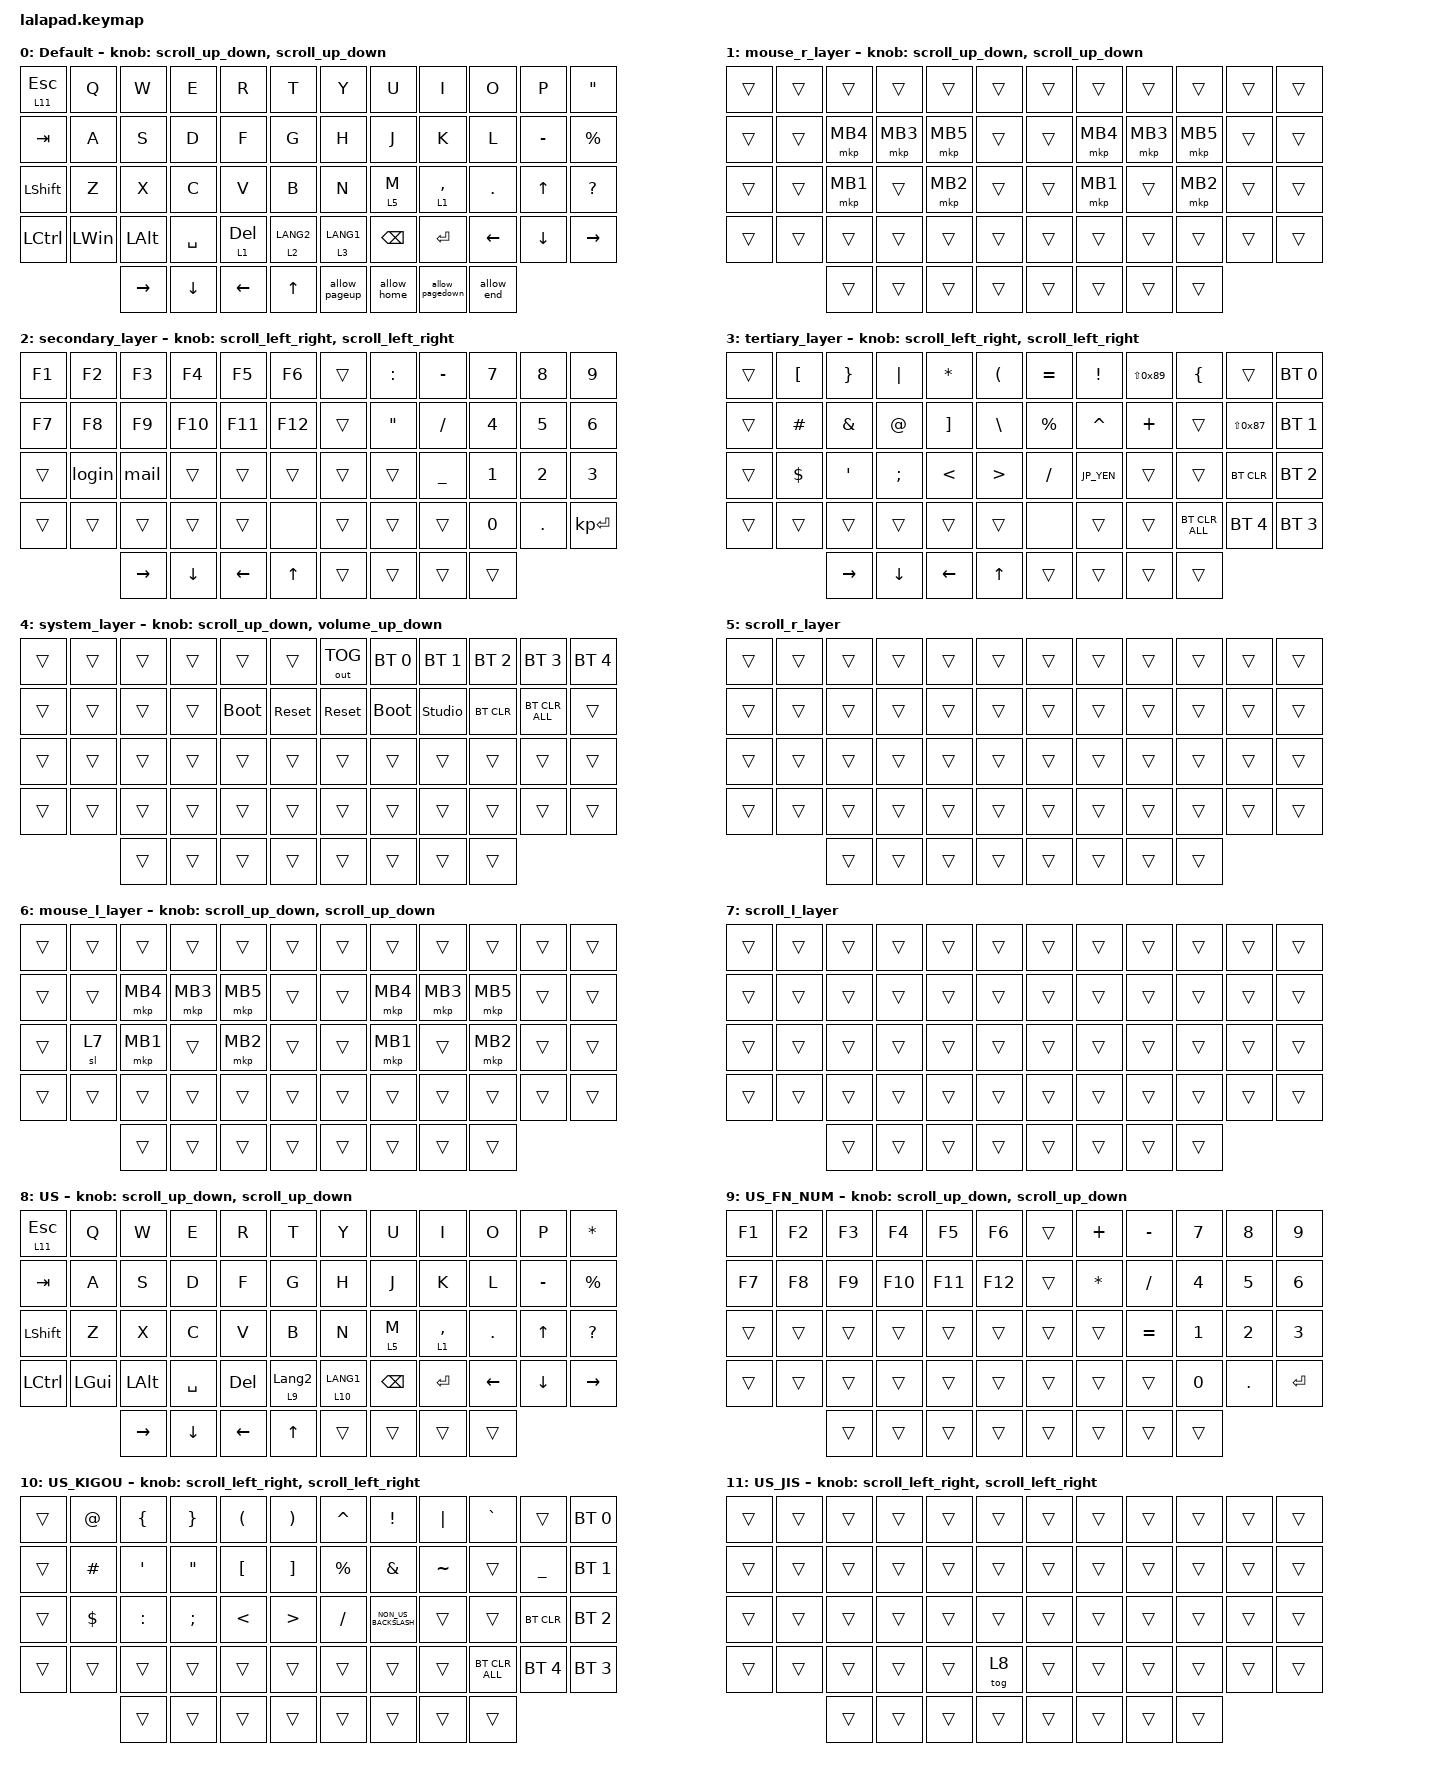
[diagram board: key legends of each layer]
#include <input/processors.dtsi>
#include <behaviors.dtsi>
#include <dt-bindings/zmk/bt.h>
#include <dt-bindings/zmk/keys.h>
#include <dt-bindings/zmk/outputs.h>
#include <dt-bindings/zmk/pointing.h>

#define DEFAULT_LAYER   0
#define SECONDARY_LAYER 2
#define TERTIARY_LAYER  3
#define SYSTEM_LAYER    4
#define MOUSE_R_LAYER   1
#define SCROLL_R_LAYER  5
#define MOUSE_L_LAYER   6
#define SCROLL_L_LAYER  7

// OS設定を日本語キーボードのまま使用するための変換定義

#define JP_DQUOTE       AT                // "
#define JP_AMPERSAND    CARET             // &
#define JP_QUOTE        AMPERSAND         // '
#define JP_EQUAL        UNDER             // =
#define JP_CARET        EQUAL             // ^
#define JP_YEN          0x89              // ¥
#define JP_PLUS         COLON             // +
#define JP_TILDE        PLUS              // ~
#define JP_PIPE         LS(0x89)          // |
#define JP_AT           LEFT_BRACKET      // @
#define JP_COLON        SINGLE_QUOTE      // :
#define JP_ASTERISK     DOUBLE_QUOTES     // *
#define JP_BACKQUOTE    LEFT_BRACE        // `
#define JP_UNDERSCORE   LS(0x87)          // _
#define JP_LBRACKET     RIGHT_BRACKET     // [
#define JP_RBRACKET     BACKSLASH         // ]
#define JP_LPAREN       ASTERISK          // (
#define JP_RPAREN       LEFT_PARENTHESIS  // )
#define JP_LBRACE       RIGHT_BRACE       // {
#define JP_RBRACE       PIPE              // }
#define JP_KANA         LANGUAGE_1        // かな
#define JP_EISU         LANGUAGE_2        // 英数
#define JP_HANZEN       GRAVE             // 半角/全角

// Mouse Scroll Value

#define ZMK_POINTING_DEFAULT_SCRL_VAL 100

// cirque trackpad input&layer control

&glidepoint_listener_R {
    input-processors =
        <&zip_xy_transform (INPUT_TRANSFORM_XY_SWAP | INPUT_TRANSFORM_X_INVERT | INPUT_TRANSFORM_Y_INVERT)>,
        <&zip_xy_scaler 3 2>,
        <&zip_temp_layer MOUSE_R_LAYER 500>;

    lowspeedmode {
        layers = <SECONDARY_LAYER>;
        input-processors =
            <&zip_xy_transform (INPUT_TRANSFORM_XY_SWAP | INPUT_TRANSFORM_X_INVERT | INPUT_TRANSFORM_Y_INVERT)>,
            <&zip_xy_scaler 3 5>,
            <&zip_temp_layer MOUSE_R_LAYER 500>;
    };

    scroller {
        layers = <SCROLL_R_LAYER>;
        input-processors =
            <&zip_xy_to_scroll_mapper>,
            <&zip_scroll_transform (INPUT_TRANSFORM_XY_SWAP | INPUT_TRANSFORM_Y_INVERT)>,
            <&zip_scroll_scaler 1 8>;
    };
};

&glidepoint_listener_L {
    input-processors =
        <&zip_xy_transform (INPUT_TRANSFORM_XY_SWAP | INPUT_TRANSFORM_X_INVERT | INPUT_TRANSFORM_Y_INVERT)>,
        <&zip_xy_scaler 3 2>,
        //<&zip_temp_layer MOUSE_L_LAYER 500>;
        <&zip_temp_layer SCROLL_L_LAYER 300>;

    lowspeedmode {
        layers = <SECONDARY_LAYER>;
        input-processors =
            <&zip_xy_transform (INPUT_TRANSFORM_XY_SWAP | INPUT_TRANSFORM_X_INVERT | INPUT_TRANSFORM_Y_INVERT)>,
            <&zip_xy_scaler 3 4>,
            <&zip_temp_layer MOUSE_L_LAYER 500>;
    };

    scroller {
        layers = <SCROLL_L_LAYER>;
        input-processors =
            <&zip_xy_to_scroll_mapper>,
            <&zip_scroll_transform (INPUT_TRANSFORM_XY_SWAP | INPUT_TRANSFORM_Y_INVERT)>,
            <&zip_scroll_scaler 1 6>;
    };
};

/ {
    behaviors {
        // Encoder to Mouse Scroll

        scroll_up_down: behavior_sensor_rotate_mouse_wheel_up_down {
            compatible = "zmk,behavior-sensor-rotate";
            #sensor-binding-cells = <0>;
            bindings = <&msc SCRL_UP>, <&msc SCRL_DOWN>;

            tap-ms = <20>;
        };

        scroll_down_up: behavior_sensor_rotate_mouse_wheel_down_up {
            compatible = "zmk,behavior-sensor-rotate";
            #sensor-binding-cells = <0>;
            bindings = <&msc SCRL_DOWN>, <&msc SCRL_UP>;

            tap-ms = <20>;
        };

        scroll_left_right: behavior_sensor_rotate_mouse_wheel_left_right {
            compatible = "zmk,behavior-sensor-rotate";
            #sensor-binding-cells = <0>;
            bindings = <&msc SCRL_LEFT>, <&msc SCRL_RIGHT>;

            tap-ms = <20>;
        };

        scroll_right_left: behavior_sensor_rotate_mouse_wheel_right_left {
            compatible = "zmk,behavior-sensor-rotate";
            #sensor-binding-cells = <0>;
            bindings = <&msc SCRL_RIGHT>, <&msc SCRL_LEFT>;

            tap-ms = <20>;
        };

        volume_up_down: behavior_sensor_rotate_volume_up_down {
            compatible = "zmk,behavior-sensor-rotate";
            #sensor-binding-cells = <0>;
            bindings = <&kp C_VOLUME_UP>, <&kp C_VOLUME_DOWN>;

            tap-ms = <20>;
        };

        dot_comma: dot_comma {
            compatible = "zmk,behavior-mod-morph";
            #binding-cells = <0>;
            bindings = <&kp KP_DOT>, <&kp COMMA>;

            mods = <(MOD_LSFT|MOD_RSFT)>;
            label = "DOT_COMMA";
        };

        pls_minus: pls_minus {
            compatible = "zmk,behavior-mod-morph";
            #binding-cells = <0>;
            bindings = <&kp PLUS>, <&kp MINUS>;

            mods = <(MOD_LSFT|MOD_RSFT)>;
            label = "PLS_MINUS";
        };

        allow_pageup: allow_pageup {
            compatible = "zmk,behavior-mod-morph";
            #binding-cells = <0>;
            bindings = <&kp UP>, <&kp PAGE_UP>;

            mods = <(MOD_LCTL|MOD_RCTL)>;
            label = "ALLOW_PAGEUP";
        };

        allow_pagedown: allow_pagedown {
            compatible = "zmk,behavior-mod-morph";
            #binding-cells = <0>;
            bindings = <&kp DOWN>, <&kp PAGE_DOWN>;

            mods = <(MOD_LCTL|MOD_RCTL)>;
            label = "ALLOW_PAGEDOWN";
        };

        allow_home: allow_home {
            compatible = "zmk,behavior-mod-morph";
            #binding-cells = <0>;
            bindings = <&kp LEFT>, <&kp HOME>;

            mods = <(MOD_LCTL|MOD_RCTL)>;
            label = "ALLOW_HOME";
        };

        allow_end: allow_end {
            compatible = "zmk,behavior-mod-morph";
            #binding-cells = <0>;
            bindings = <&kp RIGHT>, <&kp END>;

            mods = <(MOD_LCTL|MOD_RCTL)>;
            label = "ALLOW_END";
        };

        mt2: mod_tap2 {
            compatible = "zmk,behavior-hold-tap";
            #binding-cells = <2>;
            flavor = "tap-preferred";
            tapping-term-ms = <200>;
            quick-tap-ms = <200>;
            require-prior-idle-ms = <125>;
            bindings = <&kp>, <&kp>;
        };

        //        behavior_right_click: behavior_right_click {
        //            compatible = "zmk,behavior-sensor-trigger";
        //            label = "RIGHT_CLICK";
        //            bindings = <&kp BTN_RIGHT>;
        //        };
    };

    //    sensors {
    //        glidepoint: glidepoint@1 {
    //            compatible = "cirque,pinnacle";
    //            status = "okay";
    //            reg = <1>;
    //            spi-max-frequency = <1000000>;
    //            dr-gpios = <&xiao_d 7 (GPIO_ACTIVE_HIGH)>;
    //            trigger-behavior = <&behavior_right_click>;
    //        };
    //    };

    macros {
        login: login {
            compatible = "zmk,behavior-macro";
            #binding-cells = <0>;
            bindings = <&kp LS(I) &kp N &kp T &kp E &kp L &kp JP_AT &kp ENTER>;
            label = "LOGIN";
        };

        mail: mail {
            compatible = "zmk,behavior-macro";
            #binding-cells = <0>;
            bindings = <&kp T &kp S &kp U &kp T &kp O &kp M &kp U &kp LS(0x87) &kp O &kp O &kp T &kp A &kp W &kp A &kp JP_AT &kp T &kp O &kp M &kp O &kp E &kp G &kp A &kp W &kp A &kp DOT &kp C &kp O &kp DOT &kp J &kp P>;
            label = "MAIL";
        };
    };

    keymap {
        compatible = "zmk,keymap";

        DEFAULT_LAYER {
            display-name = "Default";
            sensor-bindings = <&scroll_up_down>, <&scroll_up_down>;

            bindings = <
&lt 11 ESCAPE  &kp Q         &kp W            &kp E           &kp R           &kp T        &kp Y          &kp U          &kp I            &kp O       &kp P      &kp JP_ASTERISK
&kp TAB        &kp A         &kp S            &kp D           &kp F           &kp G        &kp H          &kp J          &kp K            &kp L       &kp MINUS  &kp PERCENT
&kp LSHFT      &kp Z         &kp X            &kp C           &kp V           &kp B        &kp N          &lt 5 M        &lt 1 COMMA      &kp PERIOD  &kp UP     &kp QUESTION
&kp LCTRL      &kp LEFT_WIN  &kp LEFT_ALT     &kp SPACE       &lt 1 DELETE    &lt 2 LANG2  &lt 3 LANG1    &kp BACKSPACE  &kp RET          &kp LEFT    &kp DOWN   &kp RIGHT
                             &kp RIGHT_ARROW  &kp DOWN_ARROW  &kp LEFT_ARROW  &kp UP       &allow_pageup  &allow_home    &allow_pagedown  &allow_end
            >;
        };

        MOUSE_R_LAYER {
            display-name = "mouse_r_layer";
            bindings = <
&trans  &trans  &trans    &trans    &trans    &trans  &trans  &trans    &trans    &trans    &trans  &trans
&trans  &trans  &mkp MB4  &mkp MB3  &mkp MB5  &trans  &trans  &mkp MB4  &mkp MB3  &mkp MB5  &trans  &trans
&trans  &trans  &mkp MB1  &trans    &mkp MB2  &trans  &trans  &mkp MB1  &trans    &mkp MB2  &trans  &trans
&trans  &trans  &trans    &trans    &trans    &trans  &trans  &trans    &trans    &trans    &trans  &trans
                &trans    &trans    &trans    &trans  &trans  &trans    &trans    &trans
            >;

            sensor-bindings = <&scroll_up_down>, <&scroll_up_down>;
        };

        SECONDARY_LAYER {
            display-name = "secondary_layer";
            sensor-bindings = <&scroll_left_right>, <&scroll_left_right>;

            bindings = <
&kp F1  &kp F2  &kp F3           &kp F4          &kp F5    &kp F6        &trans  &kp JP_PLUS      &kp MINUS     &kp N7  &kp N8      &kp N9
&kp F7  &kp F8  &kp F9           &kp F10         &kp F11   &kp F12       &trans  &kp JP_ASTERISK  &kp SLASH     &kp N4  &kp N5      &kp N6
&trans  &login  &mail            &trans          &trans    &trans        &trans  &trans           &kp JP_EQUAL  &kp N1  &kp N2      &kp N3
&trans  &trans  &trans           &trans          &trans    &none         &trans  &trans           &trans        &kp N0  &kp PERIOD  &kp KP_ENTER
                &kp RIGHT_ARROW  &kp DOWN_ARROW  &kp LEFT  &kp UP_ARROW  &trans  &trans           &trans        &trans
            >;
        };

        TERTIARY_LAYER {
            display-name = "tertiary_layer";
            bindings = <
&trans  &kp JP_AT   &kp JP_LBRACE    &kp JP_RBRACE   &kp JP_LPAREN    &kp JP_RPAREN     &kp JP_CARET  &kp EXCLAMATION   &kp JP_PIPE   &kp JP_BACKQUOTE  &trans             &bt BT_SEL 0
&trans  &kp HASH    &kp JP_QUOTE     &kp JP_DQUOTE   &kp JP_LBRACKET  &kp JP_RBRACKET   &kp PERCENT   &kp JP_AMPERSAND  &kp JP_TILDE  &trans            &kp JP_UNDERSCORE  &bt BT_SEL 1
&trans  &kp DOLLAR  &kp JP_COLON     &kp SEMICOLON   &kp LESS_THAN    &kp GREATER_THAN  &kp SLASH     &kp JP_YEN        &trans        &trans            &bt BT_CLR         &bt BT_SEL 2
&trans  &trans      &trans           &trans          &trans           &trans            &none         &trans            &trans        &bt BT_CLR_ALL    &bt BT_SEL 4       &bt BT_SEL 3
                    &kp RIGHT_ARROW  &kp DOWN_ARROW  &kp LEFT         &kp UP_ARROW      &trans        &trans            &trans        &trans
            >;

            sensor-bindings = <&scroll_left_right>, <&scroll_left_right>;
        };

        SYSTEM_LAYER {
            display-name = "system_layer";
            sensor-bindings = <&scroll_up_down>, <&volume_up_down>;

            bindings = <
&trans  &trans  &trans  &trans  &trans       &trans      &out OUT_TOG  &bt BT_SEL 0  &bt BT_SEL 1    &bt BT_SEL 2  &bt BT_SEL 3    &bt BT_SEL 4
&trans  &trans  &trans  &trans  &bootloader  &sys_reset  &sys_reset    &bootloader   &studio_unlock  &bt BT_CLR    &bt BT_CLR_ALL  &trans
&trans  &trans  &trans  &trans  &trans       &trans      &trans        &trans        &trans          &trans        &trans          &trans
&trans  &trans  &trans  &trans  &trans       &trans      &trans        &trans        &trans          &trans        &trans          &trans
                &trans  &trans  &trans       &trans      &trans        &trans        &trans          &trans
            >;
        };

        SCROLL_R_LAYER {
            display-name = "scroll_r_layer";
            bindings = <
&trans  &trans  &trans  &trans  &trans  &trans  &trans  &trans  &trans  &trans  &trans  &trans
&trans  &trans  &trans  &trans  &trans  &trans  &trans  &trans  &trans  &trans  &trans  &trans
&trans  &trans  &trans  &trans  &trans  &trans  &trans  &trans  &trans  &trans  &trans  &trans
&trans  &trans  &trans  &trans  &trans  &trans  &trans  &trans  &trans  &trans  &trans  &trans
                &trans  &trans  &trans  &trans  &trans  &trans  &trans  &trans
            >;
        };

        MOUSE_L_LAYER {
            display-name = "mouse_l_layer";
            bindings = <
&trans  &trans  &trans    &trans    &trans    &trans  &trans  &trans    &trans    &trans    &trans  &trans
&trans  &trans  &mkp MB4  &mkp MB3  &mkp MB5  &trans  &trans  &mkp MB4  &mkp MB3  &mkp MB5  &trans  &trans
&trans  &sl 7   &mkp MB1  &trans    &mkp MB2  &trans  &trans  &mkp MB1  &trans    &mkp MB2  &trans  &trans
&trans  &trans  &trans    &trans    &trans    &trans  &trans  &trans    &trans    &trans    &trans  &trans
                &trans    &trans    &trans    &trans  &trans  &trans    &trans    &trans
            >;

            sensor-bindings = <&scroll_up_down>, <&scroll_up_down>;
        };

        SCROLL_L_LAYER {
            display-name = "scroll_l_layer";
            bindings = <
&trans  &trans  &trans  &trans  &trans  &trans  &trans  &trans  &trans  &trans  &trans  &trans
&trans  &trans  &trans  &trans  &trans  &trans  &trans  &trans  &trans  &trans  &trans  &trans
&trans  &trans  &trans  &trans  &trans  &trans  &trans  &trans  &trans  &trans  &trans  &trans
&trans  &trans  &trans  &trans  &trans  &trans  &trans  &trans  &trans  &trans  &trans  &trans
                &trans  &trans  &trans  &trans  &trans  &trans  &trans  &trans
            >;
        };

        US {
            bindings = <
&lt 11 ESCAPE  &kp Q     &kp W      &kp E      &kp R     &kp T             &kp Y         &kp U     &kp I        &kp O     &kp P      &kp ASTERISK
&kp TAB        &kp A     &kp S      &kp D      &kp F     &kp G             &kp H         &kp J     &kp K        &kp L     &kp MINUS  &kp PERCENT
&kp LSHFT      &kp Z     &kp X      &kp C      &kp V     &kp B             &kp N         &lt 5 M   &lt 1 COMMA  &kp DOT   &kp UP     &kp QUESTION
&kp LCTRL      &kp LGUI  &kp LALT   &kp SPACE  &kp DEL   &lt 9 LANGUAGE_2  &lt 10 LANG1  &kp BSPC  &kp RET      &kp LEFT  &kp DOWN   &kp RIGHT
                         &kp RIGHT  &kp DOWN   &kp LEFT  &kp UP            &trans        &trans    &trans       &trans
            >;

            sensor-bindings = <&scroll_up_down>, <&scroll_up_down>;
        };

        US_FN_NUM {
            bindings = <
&kp F1  &kp F2  &kp F3  &kp F4   &kp F5   &kp F6   &trans  &kp PLUS   &kp MINUS  &kp N7  &kp N8   &kp N9
&kp F7  &kp F8  &kp F9  &kp F10  &kp F11  &kp F12  &trans  &kp ASTRK  &kp FSLH   &kp N4  &kp N5   &kp N6
&trans  &trans  &trans  &trans   &trans   &trans   &trans  &trans     &kp EQUAL  &kp N1  &kp N2   &kp N3
&trans  &trans  &trans  &trans   &trans   &trans   &trans  &trans     &trans     &kp N0  &kp DOT  &kp RET
                &trans  &trans   &trans   &trans   &trans  &trans     &trans     &trans
            >;

            sensor-bindings = <&scroll_up_down>, <&scroll_up_down>;
        };

        US_KIGOU {
            bindings = <
&trans  &kp AT_SIGN  &kp LEFT_BRACE    &kp RIGHT_BRACE    &kp LEFT_PARENTHESIS  &kp RIGHT_PARENTHESIS  &kp CARET    &kp EXCL              &kp PIPE   &kp GRAVE       &trans          &bt BT_SEL 0
&trans  &kp HASH     &kp SINGLE_QUOTE  &kp DOUBLE_QUOTES  &kp LEFT_BRACKET      &kp RIGHT_BRACKET      &kp PERCENT  &kp AMPERSAND         &kp TILDE  &trans          &kp UNDERSCORE  &bt BT_SEL 1
&trans  &kp DOLLAR   &kp COLON         &kp SEMICOLON      &kp LESS_THAN         &kp GREATER_THAN       &kp SLASH    &kp NON_US_BACKSLASH  &trans     &trans          &bt BT_CLR      &bt BT_SEL 2
&trans  &trans       &trans            &trans             &trans                &trans                 &trans       &trans                &trans     &bt BT_CLR_ALL  &bt BT_SEL 4    &bt BT_SEL 3
                     &trans            &trans             &trans                &trans                 &trans       &trans                &trans     &trans
            >;

            sensor-bindings = <&scroll_left_right>, <&scroll_left_right>;
        };

        US_JIS {
            bindings = <
&trans  &trans  &trans  &trans  &trans  &trans  &trans  &trans  &trans  &trans  &trans  &trans
&trans  &trans  &trans  &trans  &trans  &trans  &trans  &trans  &trans  &trans  &trans  &trans
&trans  &trans  &trans  &trans  &trans  &trans  &trans  &trans  &trans  &trans  &trans  &trans
&trans  &trans  &trans  &trans  &trans  &tog 8  &trans  &trans  &trans  &trans  &trans  &trans
                &trans  &trans  &trans  &trans  &trans  &trans  &trans  &trans
            >;

            sensor-bindings = <&scroll_left_right>, <&scroll_left_right>;
        };
    };
};
